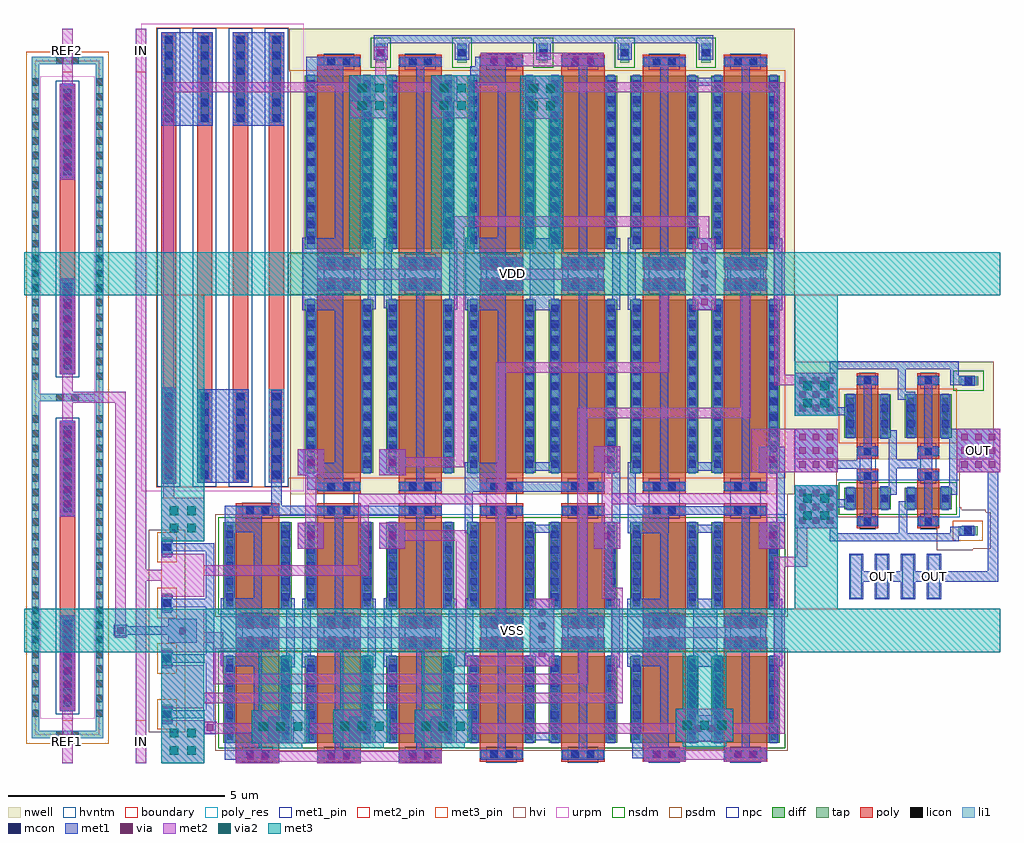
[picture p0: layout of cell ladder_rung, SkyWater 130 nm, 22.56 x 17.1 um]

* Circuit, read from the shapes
.subckt ladder_rung IN OUT REF1 REF2 VDD VSS
XM1 VSS n1 n1 VSS sky130_fd_pr__nfet_g5v0d10v5 w=2 l=1 m=2
XM2 VSS n1 n2 VSS sky130_fd_pr__nfet_g5v0d10v5 w=2 l=1 m=2
XM3 VSS n1 n3 VSS sky130_fd_pr__nfet_g5v0d10v5 w=2 l=1 m=2
XM4 n3 IN n4 VSS sky130_fd_pr__nfet_g5v0d10v5 w=2 l=1 m=2
XM5 comparator_2/buffer_1/IN comparator_2/N n3 VSS sky130_fd_pr__nfet_g5v0d10v5 w=2 l=1 m=2
XM6 VSS n5 n5 VSS sky130_fd_pr__nfet_g5v0d10v5 w=2 l=1 m=2
XM7 comparator_2/buffer_1/IN n5 VSS VSS sky130_fd_pr__nfet_g5v0d10v5 w=2 l=1 m=2
XM8 n6 comparator_2/buffer_1/IN VSS VSS sky130_fd_pr__nfet_g5v0d10v5 w=0.5 l=0.5
XM9 OUT n6 VSS VSS sky130_fd_pr__nfet_g5v0d10v5 w=0.5 l=0.5
XM10 VDD n2 n2 VDD sky130_fd_pr__pfet_g5v0d10v5 w=4 l=1 m=2
XM11 VDD n2 n7 VDD sky130_fd_pr__pfet_g5v0d10v5 w=4 l=1 m=2
XM12 VDD n4 n4 VDD sky130_fd_pr__pfet_g5v0d10v5 w=4 l=1 m=2
XM13 comparator_2/buffer_1/IN n4 VDD VDD sky130_fd_pr__pfet_g5v0d10v5 w=4 l=1 m=2
XM14 n7 IN n5 VDD sky130_fd_pr__pfet_g5v0d10v5 w=4 l=1 m=2
XM15 comparator_2/buffer_1/IN comparator_2/N n7 VDD sky130_fd_pr__pfet_g5v0d10v5 w=4 l=1 m=2
XM16 n6 comparator_2/buffer_1/IN VDD VDD sky130_fd_pr__pfet_g5v0d10v5 w=1 l=0.5
XM17 OUT n6 VDD VDD sky130_fd_pr__pfet_g5v0d10v5 w=1 l=0.5
XR18 comparator_2/N REF1 VSS sky130_fd_pr__res_xhigh_po w=0.35 l=2.38
XR19 REF2 comparator_2/N VSS sky130_fd_pr__res_xhigh_po w=0.35 l=2.38
XR20 n8 VDD VSS sky130_fd_pr__res_xhigh_po w=0.35 l=6.13
XR21 n8 n9 VSS sky130_fd_pr__res_xhigh_po w=0.35 l=6.13
XR22 n10 n9 VSS sky130_fd_pr__res_xhigh_po w=0.35 l=6.13
XR23 n10 n1 VSS sky130_fd_pr__res_xhigh_po w=0.35 l=6.13
.ends

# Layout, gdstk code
import gdstk
lib = gdstk.Library(unit=1e-6, precision=1e-09)
def R(c, l, rs):  # rectangles x0, y0, x1, y1
    for r in rs: c.add(gdstk.rectangle(r[:2], r[2:], *l))
def A(c, l, x, y, w, h, nx, ny, dx, dy):  # array of equal rectangles
    R(c, l, [(x+i*dx, y+j*dy, x+i*dx+w, y+j*dy+h) for i in range(nx) for j in range(ny)])
nwell = (64, 20)
diff = (65, 20)
tap = (65, 44)
poly_res = (66, 13)
poly = (66, 20)
licon = (66, 44)
li1 = (67, 20)
mcon = (67, 44)
met1_pin = (68, 16)
met1 = (68, 20)
via = (68, 44)
met2_pin = (69, 16)
met2 = (69, 20)
via2 = (69, 44)
met3_pin = (70, 16)
met3 = (70, 20)
hvi = (75, 20)
urpm = (79, 20)
nsdm = (93, 44)
psdm = (94, 20)
npc = (95, 20)
hvntm = (125, 20)
boundary = (235, 4)

sky130_fd_pr__res_xhigh_ = lib.new_cell('sky130_fd_pr__res_xhigh_po_0p35_29QZGQ')
R(sky130_fd_pr__res_xhigh_, tap, [(-0.825,-3.98,0.825,-3.81), (-0.825,-3.81,-0.655,3.81), (0.655,-3.81,0.825,3.81), (-0.825,3.81,0.825,3.98)])
R(sky130_fd_pr__res_xhigh_, poly_res, [(-0.175,-1.25,0.175,1.25)])
R(sky130_fd_pr__res_xhigh_, poly, [(-0.175,-3.33,0.175,3.33)])
A(sky130_fd_pr__res_xhigh_, licon, -0.825, -3.485, 0.17, 0.17, 1, 21, 0, 0.34)
A(sky130_fd_pr__res_xhigh_, licon, 0.655, -3.485, 0.17, 0.17, 1, 21, 0, 0.34)
R(sky130_fd_pr__res_xhigh_, licon, [(-0.255,-3.98,-0.085,-3.81), (0.085,-3.98,0.255,-3.81), (-0.095,-3.25,0.095,-1.25), (-0.095,1.25,0.095,3.25), (-0.255,3.81,-0.085,3.98), (0.085,3.81,0.255,3.98)])
R(sky130_fd_pr__res_xhigh_, li1, [(-0.825,-3.98,0.825,-3.81), (-0.825,-3.81,-0.655,3.81), (0.655,-3.81,0.825,3.81), (-0.175,-3.33,0.175,-1.17), (-0.175,1.17,0.175,3.33), (-0.825,3.81,0.825,3.98)])
A(sky130_fd_pr__res_xhigh_, mcon, -0.085, -3.235, 0.17, 0.17, 1, 6, 0, 0.36)
A(sky130_fd_pr__res_xhigh_, mcon, -0.085, 1.26, 0.17, 0.17, 1, 6, 0, 0.36)
R(sky130_fd_pr__res_xhigh_, met1, [(-0.125,-3.3,0.125,-1.195), (-0.125,1.195,0.125,3.3)])
R(sky130_fd_pr__res_xhigh_, urpm, [(-0.635,-3.53,0.635,3.53)])
R(sky130_fd_pr__res_xhigh_, psdm, [(-0.95,-4.105,0.95,4.105)])
R(sky130_fd_pr__res_xhigh_, npc, [(-0.27,-3.425,0.27,3.425)])
R(sky130_fd_pr__res_xhigh_, boundary, [(-0.74,-3.895,0.74,3.895)])

sky130_fd_pr__nfet_g5v0d = lib.new_cell('sky130_fd_pr__nfet_g5v0d10v5_H94GUP')
R(sky130_fd_pr__nfet_g5v0d, diff, [(-0.79,-2.545,0.79,-0.545), (-0.79,0.545,0.79,2.545)])
R(sky130_fd_pr__nfet_g5v0d, poly, [(-0.5,-2.985,0.5,-0.105), (-0.5,0.105,0.5,2.985)])
A(sky130_fd_pr__nfet_g5v0d, licon, -0.73, -2.48, 0.17, 0.17, 1, 6, 0, 0.34)
A(sky130_fd_pr__nfet_g5v0d, licon, 0.56, -2.48, 0.17, 0.17, 1, 6, 0, 0.34)
A(sky130_fd_pr__nfet_g5v0d, licon, -0.73, 0.61, 0.17, 0.17, 1, 6, 0, 0.34)
A(sky130_fd_pr__nfet_g5v0d, licon, 0.56, 0.61, 0.17, 0.17, 1, 6, 0, 0.34)
R(sky130_fd_pr__nfet_g5v0d, licon, [(-0.255,-2.905,-0.085,-2.735), (0.085,-2.905,0.255,-2.735), (-0.255,-0.355,-0.085,-0.185), (0.085,-0.355,0.255,-0.185), (-0.255,0.185,-0.085,0.355), (0.085,0.185,0.255,0.355), (-0.255,2.735,-0.085,2.905), (0.085,2.735,0.255,2.905)])
R(sky130_fd_pr__nfet_g5v0d, li1, [(-0.5,-2.905,0.5,-2.735), (-0.73,-2.565,-0.56,-0.525), (0.56,-2.565,0.73,-0.525), (-0.5,-0.355,0.5,-0.185), (-0.5,0.185,0.5,0.355), (-0.73,0.525,-0.56,2.565), (0.56,0.525,0.73,2.565), (-0.5,2.735,0.5,2.905)])
A(sky130_fd_pr__nfet_g5v0d, mcon, -0.73, -2.35, 0.17, 0.17, 1, 5, 0, 0.36)
A(sky130_fd_pr__nfet_g5v0d, mcon, 0.56, -2.35, 0.17, 0.17, 1, 5, 0, 0.36)
A(sky130_fd_pr__nfet_g5v0d, mcon, -0.73, 0.74, 0.17, 0.17, 1, 5, 0, 0.36)
A(sky130_fd_pr__nfet_g5v0d, mcon, 0.56, 0.74, 0.17, 0.17, 1, 5, 0, 0.36)
R(sky130_fd_pr__nfet_g5v0d, mcon, [(-0.265,-2.905,-0.095,-2.735), (0.095,-2.905,0.265,-2.735), (-0.265,-0.355,-0.095,-0.185), (0.095,-0.355,0.265,-0.185), (-0.265,0.185,-0.095,0.355), (0.095,0.185,0.265,0.355), (-0.265,2.735,-0.095,2.905), (0.095,2.735,0.265,2.905)])
R(sky130_fd_pr__nfet_g5v0d, met1, [(-0.48,-2.935,0.48,-2.705), (-0.76,-2.545,-0.53,-0.545), (0.53,-2.545,0.76,-0.545), (-0.48,-0.385,0.48,-0.155), (-0.48,0.155,0.48,0.385), (-0.76,0.545,-0.53,2.545), (0.53,0.545,0.76,2.545), (-0.48,2.705,0.48,2.935)])
R(sky130_fd_pr__nfet_g5v0d, hvi, [(-0.975,-2.73,0.975,-0.36), (-0.975,0.36,0.975,2.73)])
R(sky130_fd_pr__nfet_g5v0d, nsdm, [(-0.915,-2.67,0.915,-0.42), (-0.915,0.42,0.915,2.67)])
R(sky130_fd_pr__nfet_g5v0d, npc, [(-0.355,-3.005,0.355,-2.635), (-0.355,-0.455,0.355,0.455), (-0.355,2.635,0.355,3.005)])
R(sky130_fd_pr__nfet_g5v0d, hvntm, [(-0.975,-2.73,0.975,-0.36), (-0.975,0.36,0.975,2.73)])

c_sky130_fd_pr__res_xhigh_ = lib.new_cell('sky130_fd_pr__res_xhigh_po_0p35_MDZYBC')
A(c_sky130_fd_pr__res_xhigh_, poly_res, -1.42, -3.125, 0.35, 6.25, 4, 1, 0.83, 0)
A(c_sky130_fd_pr__res_xhigh_, poly, -1.42, -5.205, 0.35, 10.41, 4, 1, 0.83, 0)
A(c_sky130_fd_pr__res_xhigh_, licon, -1.34, -5.125, 0.19, 2, 4, 2, 0.83, 8.25)
A(c_sky130_fd_pr__res_xhigh_, li1, -1.42, -5.205, 0.35, 2.16, 4, 2, 0.83, 8.25)
A(c_sky130_fd_pr__res_xhigh_, mcon, -1.33, -5.11, 0.17, 0.17, 4, 6, 0.83, 0.36)
A(c_sky130_fd_pr__res_xhigh_, mcon, -1.33, 3.135, 0.17, 0.17, 4, 6, 0.83, 0.36)
A(c_sky130_fd_pr__res_xhigh_, met1, -1.37, -5.175, 0.25, 2.105, 4, 2, 0.83, 8.245)
R(c_sky130_fd_pr__res_xhigh_, urpm, [(-1.88,-5.405,1.88,5.405)])
R(c_sky130_fd_pr__res_xhigh_, psdm, [(-1.53,-5.315,1.53,5.315)])
A(c_sky130_fd_pr__res_xhigh_, npc, -1.515, -5.3, 0.54, 10.6, 4, 1, 0.83, 0)

sky130_fd_pr__pfet_g5v0d = lib.new_cell('sky130_fd_pr__pfet_g5v0d10v5_EFU7LQ')
R(sky130_fd_pr__pfet_g5v0d, nwell, [(-0.97,-5.09,0.97,-0.09), (-0.97,0.09,0.97,5.09)])
R(sky130_fd_pr__pfet_g5v0d, diff, [(-0.79,-4.59,0.79,-0.59), (-0.79,0.59,0.79,4.59)])
R(sky130_fd_pr__pfet_g5v0d, poly, [(-0.5,-5.075,0.5,-0.105), (-0.5,0.105,0.5,5.075)])
A(sky130_fd_pr__pfet_g5v0d, licon, -0.73, -4.375, 0.17, 0.17, 1, 11, 0, 0.34)
A(sky130_fd_pr__pfet_g5v0d, licon, 0.56, -4.375, 0.17, 0.17, 1, 11, 0, 0.34)
A(sky130_fd_pr__pfet_g5v0d, licon, -0.73, 0.805, 0.17, 0.17, 1, 11, 0, 0.34)
A(sky130_fd_pr__pfet_g5v0d, licon, 0.56, 0.805, 0.17, 0.17, 1, 11, 0, 0.34)
R(sky130_fd_pr__pfet_g5v0d, licon, [(-0.255,-4.995,-0.085,-4.825), (0.085,-4.995,0.255,-4.825), (-0.255,-0.355,-0.085,-0.185), (0.085,-0.355,0.255,-0.185), (-0.255,0.185,-0.085,0.355), (0.085,0.185,0.255,0.355), (-0.255,4.825,-0.085,4.995), (0.085,4.825,0.255,4.995)])
R(sky130_fd_pr__pfet_g5v0d, li1, [(-0.5,-4.995,0.5,-4.825), (-0.73,-4.61,-0.56,-0.57), (0.56,-4.61,0.73,-0.57), (-0.5,-0.355,0.5,-0.185), (-0.5,0.185,0.5,0.355), (-0.73,0.57,-0.56,4.61), (0.56,0.57,0.73,4.61), (-0.5,4.825,0.5,4.995)])
A(sky130_fd_pr__pfet_g5v0d, mcon, -0.73, -4.475, 0.17, 0.17, 1, 11, 0, 0.36)
A(sky130_fd_pr__pfet_g5v0d, mcon, 0.56, -4.475, 0.17, 0.17, 1, 11, 0, 0.36)
A(sky130_fd_pr__pfet_g5v0d, mcon, -0.73, 0.705, 0.17, 0.17, 1, 11, 0, 0.36)
A(sky130_fd_pr__pfet_g5v0d, mcon, 0.56, 0.705, 0.17, 0.17, 1, 11, 0, 0.36)
R(sky130_fd_pr__pfet_g5v0d, mcon, [(-0.265,-4.995,-0.095,-4.825), (0.095,-4.995,0.265,-4.825), (-0.265,-0.355,-0.095,-0.185), (0.095,-0.355,0.265,-0.185), (-0.265,0.185,-0.095,0.355), (0.095,0.185,0.265,0.355), (-0.265,4.825,-0.095,4.995), (0.095,4.825,0.265,4.995)])
R(sky130_fd_pr__pfet_g5v0d, met1, [(-0.48,-5.025,0.48,-4.795), (-0.76,-4.59,-0.53,-0.59), (0.53,-4.59,0.76,-0.59), (-0.48,-0.385,0.48,-0.155), (-0.48,0.155,0.48,0.385), (-0.76,0.59,-0.53,4.59), (0.53,0.59,0.76,4.59), (-0.48,4.795,0.48,5.025)])
R(sky130_fd_pr__pfet_g5v0d, hvi, [(-0.97,-5.09,0.97,-4.775), (-0.975,-4.775,0.975,-0.405), (-0.97,-0.405,0.97,0.405), (-0.975,0.405,0.975,4.775), (-0.97,4.775,0.97,5.09)])
R(sky130_fd_pr__pfet_g5v0d, psdm, [(-0.915,-4.715,0.915,-0.465), (-0.915,0.465,0.915,4.715)])
R(sky130_fd_pr__pfet_g5v0d, npc, [(-0.355,-5.095,0.355,-4.725), (-0.355,-0.455,0.355,0.455), (-0.355,4.725,0.355,5.095)])

opamp = lib.new_cell('opamp')
R(opamp, nwell, [(19,-2.16,30.66,7.62), (18.98,7.62,30.66,8.6)])
R(opamp, diff, [(28.27,-3.03,28.33,-2.81)])
A(opamp, tap, 16.05, -6.18, 0.21, 0.45, 1, 3, 0, 1.285)
A(opamp, tap, 20.99, 7.82, 0.21, 0.45, 5, 1, 1.88, 0)
R(opamp, tap, [(16.05,-7.47,16.26,-7.02)])
A(opamp, licon, 16.07, -6.04, 0.17, 0.17, 1, 3, 0, 1.285)
A(opamp, licon, 21.01, 7.96, 0.17, 0.17, 5, 1, 1.88, 0)
R(opamp, licon, [(16.07,-7.33,16.24,-7.16)])
A(opamp, li1, 16.05, -6.14, 0.21, 0.37, 1, 3, 0, 1.285)
A(opamp, li1, 20.99, 7.86, 0.21, 0.37, 5, 1, 1.88, 0)
R(opamp, li1, [(16.05,-7.43,16.26,-7.06)])
A(opamp, mcon, 16.07, -6.04, 0.17, 0.17, 1, 3, 0, 1.285)
A(opamp, mcon, 21.01, 7.96, 0.17, 0.17, 5, 1, 1.88, 0)
R(opamp, mcon, [(16.07,-7.33,16.24,-7.16)])
A(opamp, met1, 18.49, -7.9, 0.6, 0.6, 3, 1, 1.88, 0)
A(opamp, met1, 16.02, -6.15, 0.27, 0.1, 1, 3, 0, 1.285)
A(opamp, met1, 16.02, -6.05, 1.225, 0.19, 1, 3, 0, 1.285)
A(opamp, met1, 16.02, -5.86, 0.27, 0.09, 1, 3, 0, 1.285)
A(opamp, met1, 22.56, -4.76, 0.295, 0.19, 3, 1, 3.76, 0)
A(opamp, met1, 20.93, 7.88, 0.33, 0.385, 5, 1, 1.88, 0)
R(opamp, met1, [(17.75,-8.38,18.75,-8.29), (19.63,-8.38,20.63,-8.06), (21.51,-8.38,22.51,-8.06), (27.2,-8.34,28.1,-8.265), (29.08,-8.34,29.98,-8.02), (17.49,-8.29,18.75,-8.06), (25.675,-8.27,25.865,-5.74), (23.795,-8.265,23.985,-5.74), (26.91,-8.265,28.1,-8.02), (17.49,-8.06,18.35,-7.66), (20.035,-8.06,20.225,-5.74), (21.915,-8.06,22.105,-5.74), (26.91,-8.02,27.75,-7.67), (29.435,-8.02,29.625,-5.74), (28.18,-7.87,29,-7.27), (24.44,-7.85,25.215,-7.66), (17.02,-7.71,17.28,-7.39), (26.91,-7.67,27.1,-7.66), (27.555,-7.67,27.745,-6.14), (18.155,-7.66,18.35,-6.13), (16.06,-7.47,16.25,-7.44), (16.02,-7.44,16.29,-7.34), (17.02,-7.39,17.245,-7.34), (16.02,-7.34,17.245,-7.15), (16.02,-7.15,16.29,-7.06), (17.055,-7.15,17.245,-6.05), (16.06,-6.18,16.25,-6.15), (18.805,-6.155,19.105,-5.965), (19.285,-6.155,19.585,-5.965), (20.685,-6.155,20.985,-5.965), (26.325,-6.155,26.615,-5.965), (28.215,-6.15,28.88,-6.145), (21.165,-6.145,21.455,-5.955), (22.565,-6.145,22.855,-5.955), (26.795,-6.145,27.095,-6.14), (28.215,-6.145,28.975,-5.965), (17.395,-6.14,17.7,-6.13), (23.045,-6.14,23.34,-5.95), (24.445,-6.14,25.1,-6.135), (26.795,-6.14,27.745,-5.74), (24.445,-6.135,25.215,-5.955), (30.085,-6.135,30.375,-5.945), (17.395,-6.13,18.35,-5.74), (18.915,-5.965,19.105,-4.755), (19.285,-5.965,19.475,-4.76), (20.795,-5.965,20.985,-4.76), (26.425,-5.965,26.615,-4.76), (28.315,-5.965,28.975,-5.955), (21.165,-5.955,21.355,-4.755), (22.665,-5.955,22.855,-4.76), (24.545,-5.955,25.215,-5.945), (28.315,-5.955,28.88,-4.76), (23.045,-5.95,23.235,-4.755), (24.545,-5.945,25.105,-4.76), (30.185,-5.945,30.375,-4.76), (17.055,-5.86,17.245,-4.765), (17.395,-5.74,18.75,-4.97), (19.63,-5.74,20.63,-4.97), (21.51,-5.74,22.51,-4.97), (23.41,-5.74,24.37,-4.97), (25.29,-5.74,26.25,-4.97), (26.795,-5.74,28.13,-4.96), (29.05,-5.74,30.01,-4.97), (17.395,-4.97,18.35,-4.565), (20.035,-4.97,20.225,-2.65), (21.915,-4.97,22.105,-2.65), (23.795,-4.97,23.985,-2.44), (25.675,-4.97,25.865,-2.445), (29.435,-4.97,29.625,-2.63), (26.795,-4.96,27.745,-4.57), (16.06,-4.895,16.25,-4.865), (19.285,-4.76,19.58,-4.57), (20.68,-4.76,20.985,-4.57), (24.44,-4.76,25.22,-4.57), (28.2,-4.76,28.98,-4.57), (18.8,-4.755,19.105,-4.565), (21.165,-4.755,21.46,-4.565), (23.045,-4.755,23.345,-4.565), (17.055,-4.575,17.245,-3.48), (27.555,-4.57,27.745,-3.06), (17.4,-4.565,18.35,-4.56), (18.155,-4.56,18.35,-3.04), (16.06,-3.615,16.25,-3.58), (19.18,-3.42,19.78,-2.82), (21.06,-3.42,21.66,-2.82), (26.02,-3.42,26.63,-2.82), (29.83,-3.42,30.43,-2.81), (26.81,-3.06,27.75,-3.055), (23.035,-3.055,23.335,-2.865), (26.805,-3.055,27.75,-2.63), (24.44,-3.05,25.225,-2.86), (28.2,-3.05,28.975,-2.86), (17.49,-3.04,18.35,-2.65), (23.035,-2.865,23.225,-2.1), (26.44,-2.82,26.63,-1.65), (30.235,-2.81,30.43,-1.66), (17.49,-2.65,22.51,-2.42), (26.805,-2.63,29.635,-2.44), (26.805,-2.44,27.75,-2.42), (18.56,-2.42,18.81,-1.8), (26.805,-2.42,26.995,-1.605), (23.035,-2.1,26.25,-1.87), (20.035,-2.075,20.225,-2.06), (21.915,-2.075,22.105,2.54), (29.435,-2.075,29.625,2.575), (27.555,-2.065,27.745,2.55), (19.4,-2.06,20.23,-1.72), (16.02,-1.92,16.37,0.3), (16.85,-1.89,18.04,0.27), (23.035,-1.87,23.99,-1.43), (25.675,-1.87,25.865,2.54), (18.655,-1.8,18.715,-0.78), (19.18,-1.72,20.23,-1.43), (21.06,-1.72,21.67,-1.12), (29.83,-1.66,30.43,-1.06), (26.02,-1.65,26.63,-1.05), (24.44,-1.61,25.205,-1.42), (28.2,-1.61,28.975,-1.42), (26.805,-1.605,27.1,-1.415), (19.18,-1.43,19.79,-1.12), (20.035,-1.43,20.225,2.1), (23.035,-1.43,23.34,-1.42), (23.795,-1.43,23.985,2.1), (24.55,2.09,25.1,2.095), (19.285,2.095,19.58,2.1), (24.425,2.095,25.1,2.105), (28.655,2.095,28.955,2.1), (30.085,2.095,30.375,2.285), (19.285,2.1,20.225,2.54), (23.05,2.1,23.985,2.105), (28.2,2.1,28.955,2.285), (22.575,2.105,22.865,2.295), (23.045,2.105,23.985,2.11), (24.425,2.105,25.225,2.285), (26.325,2.105,26.635,2.295), (26.805,2.105,27.105,2.295), (23.045,2.11,23.99,2.54), (20.695,2.115,20.985,2.305), (21.165,2.135,21.455,2.325), (24.545,2.285,25.225,2.295), (28.2,2.285,28.845,2.29), (30.185,2.285,30.375,3.57), (28.305,2.29,28.845,2.83), (22.675,2.295,22.865,3.57), (24.545,2.295,25.105,3.57), (26.445,2.295,26.635,3.57), (26.805,2.295,26.995,3.575), (20.795,2.305,20.985,3.585), (21.165,2.325,21.355,3.57), (19.285,2.54,20.63,3.32), (21.51,2.54,22.51,3.32), (23.045,2.54,24.37,3.32), (25.29,2.54,26.25,3.32), (27.18,2.55,28.12,3.31), (29.11,2.575,29.95,3.285), (28.305,2.83,28.855,3.02), (28.305,3.02,28.845,3.565), (29.435,3.285,29.625,7.915), (27.555,3.31,27.745,7.935), (19.285,3.32,20.225,3.76), (21.915,3.32,22.105,7.925), (23.045,3.32,23.985,3.765), (25.675,3.32,25.865,7.72), (28.185,3.565,28.845,3.57), (21.165,3.57,21.46,3.76), (22.56,3.57,22.865,3.76), (24.44,3.57,25.105,3.575), (26.32,3.57,26.635,3.76), (28.185,3.57,28.98,3.755), (30.08,3.57,30.375,3.76), (24.44,3.575,25.22,3.76), (26.805,3.575,27.1,3.765), (20.68,3.585,20.985,3.775), (28.655,3.755,28.98,3.76), (19.285,3.76,19.575,3.765), (20.035,3.76,20.225,7.29), (23.05,3.765,23.985,3.77), (23.795,3.77,23.985,7.29), (16.02,6.36,17.21,8.52), (17.68,6.36,18.87,8.52), (20.37,6.93,20.97,7.53), (22.26,6.93,22.86,7.53), (24.43,6.98,25.24,7.52), (28.2,7.28,28.975,7.47), (19.37,7.29,20.23,7.95), (23.16,7.29,23.985,7.72), (23.16,7.72,24.37,7.74), (25.29,7.72,26.25,8.05), (23.28,7.74,24.37,7.95), (23.41,7.95,24.37,8.05), (20.93,8.265,28.78,8.455)])
A(opamp, via, 18.715, -7.675, 0.15, 0.15, 3, 1, 1.88, 0)
A(opamp, via, 24.75, -5.915, 0.15, 0.15, 1, 4, 0, 0.32)
A(opamp, via, 16.12, -1.685, 0.15, 0.15, 1, 6, 0, 0.32)
A(opamp, via, 28.5, 2.215, 0.15, 0.15, 1, 5, 0, 0.32)
R(opamp, via, [(18.015,-8.295,18.165,-8.145), (18.335,-8.295,18.485,-8.145), (19.895,-8.295,20.045,-8.145), (20.215,-8.295,20.365,-8.145), (21.775,-8.295,21.925,-8.145), (22.095,-8.295,22.245,-8.145), (27.415,-8.255,27.565,-8.105), (27.735,-8.255,27.885,-8.105), (29.295,-8.255,29.445,-8.105), (29.615,-8.255,29.765,-8.105), (28.355,-7.645,28.505,-7.495), (28.675,-7.645,28.825,-7.495), (17.075,-7.625,17.225,-7.475), (18.015,-5.59,18.165,-5.44), (18.335,-5.59,18.485,-5.44), (19.895,-5.59,20.045,-5.44), (20.215,-5.59,20.365,-5.44), (21.775,-5.59,21.925,-5.44), (22.095,-5.59,22.245,-5.44), (23.655,-5.59,23.805,-5.44), (23.975,-5.59,24.125,-5.44), (25.535,-5.59,25.685,-5.44), (25.855,-5.59,26.005,-5.44), (27.415,-5.59,27.565,-5.44), (27.735,-5.59,27.885,-5.44), (29.295,-5.59,29.445,-5.44), (29.615,-5.59,29.765,-5.44), (18.015,-5.27,18.165,-5.12), (18.335,-5.27,18.485,-5.12), (19.895,-5.27,20.045,-5.12), (20.215,-5.27,20.365,-5.12), (21.775,-5.27,21.925,-5.12), (22.095,-5.27,22.245,-5.12), (23.655,-5.27,23.805,-5.12), (23.975,-5.27,24.125,-5.12), (25.535,-5.27,25.685,-5.12), (25.855,-5.27,26.005,-5.12), (27.415,-5.27,27.565,-5.12), (27.735,-5.27,27.885,-5.12), (29.295,-5.27,29.445,-5.12), (29.615,-5.27,29.765,-5.12), (26.25,-3.2,26.4,-3.05), (19.405,-3.195,19.555,-3.045), (21.285,-3.195,21.435,-3.045), (30.06,-3.185,30.21,-3.035), (19.405,-1.495,19.555,-1.345), (21.285,-1.495,21.435,-1.345), (30.06,-1.435,30.21,-1.285), (26.25,-1.425,26.4,-1.275), (19.895,2.695,20.045,2.845), (20.215,2.695,20.365,2.845), (21.775,2.695,21.925,2.845), (22.095,2.695,22.245,2.845), (23.655,2.695,23.805,2.845), (23.975,2.695,24.125,2.845), (25.535,2.695,25.685,2.845), (25.855,2.695,26.005,2.845), (27.415,2.695,27.565,2.845), (27.735,2.695,27.885,2.845), (29.295,2.695,29.445,2.845), (29.615,2.695,29.765,2.845), (19.895,3.015,20.045,3.165), (20.215,3.015,20.365,3.165), (21.775,3.015,21.925,3.165), (22.095,3.015,22.245,3.165), (23.655,3.015,23.805,3.165), (23.975,3.015,24.125,3.165), (25.535,3.015,25.685,3.165), (25.855,3.015,26.005,3.165), (27.415,3.015,27.565,3.165), (27.735,3.015,27.885,3.165), (29.295,3.015,29.445,3.165), (29.615,3.015,29.765,3.165), (20.595,7.155,20.745,7.305), (22.485,7.155,22.635,7.305), (24.6,7.175,24.75,7.325), (24.92,7.175,25.07,7.325), (23.655,7.81,23.805,7.96), (23.975,7.81,24.125,7.96), (25.535,7.81,25.685,7.96), (25.855,7.81,26.005,7.96), (21.02,7.975,21.17,8.125)])
R(opamp, met2_pin, [(16.02,-7.11,17.02,-6.11), (16.02,-5.81,17.02,-4.81), (16.02,-4.53,17.02,-3.53), (29.66,-1.65,30.66,-0.65)])
A(opamp, met2, 17.75, -8.38, 1, 0.035, 3, 2, 1.88, 0.285)
A(opamp, met2, 17.75, -5.74, 1, 0.26, 3, 2, 1.88, 0.51)
R(opamp, met2, [(16.02,-8.38,17.02,-7.69), (17.75,-8.345,22.51,-8.095), (27.17,-8.34,28.15,-8.3), (29.03,-8.34,30.02,-8.3), (27.17,-8.3,30.02,-8.05), (27.17,-8.05,28.15,-8.02), (29.03,-8.05,30.02,-8.02), (18.12,-7.91,19.44,-7.69), (20,-7.9,21.32,-7.69), (21.88,-7.9,23.2,-7.69), (27.92,-7.88,29.24,-7.69), (16.02,-7.69,29.24,-7.45), (16.02,-7.45,17.31,-7.42), (18.12,-7.45,19.44,-7.15), (20,-7.45,21.32,-7.14), (21.88,-7.45,23.2,-7.14), (27.92,-7.45,29.24,-7.12), (16.02,-7.42,17.02,-7.38), (16.02,-7.11,17.02,-6.995), (16.02,-6.995,26.685,-6.745), (16.02,-6.745,17.02,-6.11), (26.435,-6.745,26.685,-4.575), (17.22,-6.55,25.89,-6.31), (17.22,-6.31,17.46,-5.59), (25.65,-6.31,25.89,-5.74), (22.83,-6.13,25.105,-5.89), (22.83,-5.89,23.07,-3.23), (24.545,-5.89,25.105,-4.57), (16.02,-5.81,17.02,-5.59), (23.41,-5.74,24.37,-4.97), (25.29,-5.74,26.25,-4.97), (27.16,-5.74,28.13,-5.48), (29.05,-5.74,30.01,-5.48), (16.02,-5.59,17.46,-5.35), (17.75,-5.48,22.51,-5.23), (27.16,-5.48,30.01,-5.23), (16.02,-5.35,17.02,-4.81), (27.16,-5.23,28.13,-4.96), (29.05,-5.23,30.01,-4.97), (23.76,-4.97,24,-2.39), (25.64,-4.97,25.88,-0.4), (26.2,-4.575,26.685,-4.325), (16.02,-4.53,17.02,-4.04), (26.2,-4.325,26.45,-3.42), (16.02,-4.04,20.82,-3.8), (16.02,-3.8,17.02,-3.53), (20.58,-3.8,20.82,-2.39), (19.18,-3.42,19.78,-2.82), (21.06,-3.42,21.66,-3.23), (26.02,-3.42,26.63,-2.82), (29.83,-3.42,30.43,-2.81), (16.02,-3.24,17.02,-2.24), (21.06,-3.23,23.07,-2.99), (21.06,-2.99,21.66,-2.82), (19.355,-2.82,19.605,-1.72), (26.2,-2.82,26.45,-2.385), (30.01,-2.81,30.26,-2.385), (20.58,-2.39,24,-2.15), (26.2,-2.385,30.26,-2.135), (16.07,-2.24,16.32,-1.92), (23.76,-2.15,24,0.65), (26.2,-2.135,26.45,-1.65), (30.01,-2.135,30.26,-1.65), (16.02,-1.92,16.37,0.3), (19.18,-1.72,19.79,-1.12), (21.06,-1.72,21.67,-1.54), (26.02,-1.65,26.63,-1.05), (29.66,-1.65,30.66,-0.65), (21.06,-1.54,23.03,-1.3), (21.06,-1.3,21.67,-1.12), (22.79,-1.3,23.03,4.03), (25.64,-0.4,29.65,-0.16), (29.41,-0.16,29.65,2.55), (16.07,0.3,16.31,7.13), (23.76,0.65,27.77,0.89), (27.53,0.89,27.77,2.55), (28.31,2.11,28.84,3.75), (19.63,2.54,20.63,2.805), (21.51,2.54,22.51,2.805), (23.41,2.54,24.37,2.805), (25.29,2.54,26.25,2.805), (27.18,2.55,28.12,3.31), (29.05,2.55,30.01,3.31), (19.63,2.805,22.51,3.055), (23.41,2.805,26.25,3.055), (19.63,3.055,20.63,3.32), (21.51,3.055,22.51,3.32), (23.41,3.055,24.37,3.32), (25.29,3.055,26.25,3.32), (28.455,3.75,28.695,4.03), (22.79,4.03,28.695,4.27), (24.32,6.52,25.32,7.13), (20.37,6.53,21.37,7.13), (22.26,6.53,23.26,7.13), (16.07,7.13,25.32,7.37), (20.37,7.37,21.37,7.53), (22.26,7.37,23.26,7.53), (24.32,7.37,25.32,7.52), (20.97,7.53,21.22,7.92), (23.41,7.73,26.25,8.05), (20.935,7.92,21.255,8.18)])
A(opamp, via2, 18.28, -7.63, 0.2, 0.2, 3, 1, 0.4, 0)
A(opamp, via2, 20.16, -7.62, 0.2, 0.2, 3, 1, 0.4, 0)
A(opamp, via2, 22.04, -7.62, 0.2, 0.2, 3, 1, 0.4, 0)
A(opamp, via2, 28.08, -7.6, 0.2, 0.2, 3, 1, 0.4, 0)
R(opamp, via2, [(16.22,-8.18,16.42,-7.98), (16.62,-8.18,16.82,-7.98), (16.22,-7.78,16.42,-7.58), (16.62,-7.78,16.82,-7.58), (16.22,-3.04,16.42,-2.84), (16.62,-3.04,16.82,-2.84), (16.22,-2.64,16.42,-2.44), (16.62,-2.64,16.82,-2.44), (24.52,6.72,24.72,6.92), (24.92,6.72,25.12,6.92), (20.57,6.73,20.77,6.93), (20.97,6.73,21.17,6.93), (22.46,6.73,22.66,6.93), (22.86,6.73,23.06,6.93), (24.52,7.12,24.72,7.32), (24.92,7.12,25.12,7.32), (20.57,7.13,20.77,7.33), (20.97,7.13,21.17,7.33), (22.46,7.13,22.66,7.33), (22.86,7.13,23.06,7.33)])
R(opamp, met3_pin, [(16.02,-8.38,17.02,-7.38), (18.12,-7.91,19.44,-7.15), (20,-7.9,21.32,-7.14), (21.88,-7.9,23.2,-7.14), (27.92,-7.88,29.24,-7.12), (17.4,-5.81,30.37,-4.81), (16.02,-3.24,17.02,-2.24), (19.28,2.44,30.37,3.44), (24.32,6.52,25.32,7.52), (20.37,6.53,21.37,7.53), (22.26,6.53,23.26,7.53)])
R(opamp, met3, [(16.02,-8.38,17.02,-7.38), (18.28,-8.03,19.28,-7.91), (20.16,-8.02,21.16,-7.9), (22.04,-8.02,23.04,-7.9), (28.08,-8,29.08,-7.88), (18.12,-7.91,19.44,-7.15), (20,-7.9,21.32,-7.14), (21.88,-7.9,23.2,-7.14), (27.92,-7.88,29.24,-7.12), (18.28,-7.15,19.28,-5.81), (20.16,-7.14,21.16,-5.81), (22.04,-7.14,23.04,-5.81), (28.08,-7.12,29.08,-5.81), (17.4,-5.81,30.37,-4.81), (16.02,-3.24,17.02,-2.24), (19.28,2.44,30.37,3.44), (20.37,3.44,21.37,7.53), (22.26,3.44,23.26,7.53), (24.32,3.44,25.32,7.52)])
R(opamp, hvi, [(15.735,-7.655,16.575,-2.975), (27.88,-3.215,28.72,-2.625), (19,-2.625,30.505,-2.16), (19,-2.16,30.66,7.62), (18.98,7.62,30.66,8.6)])
A(opamp, nsdm, 19.165, -8.025, 0.05, 2.25, 6, 2, 1.88, 3.09)
A(opamp, nsdm, 20.865, 7.695, 0.46, 0.7, 5, 1, 1.88, 0)
R(opamp, nsdm, [(28.145,-3.155,28.455,-2.685)])
A(opamp, psdm, 15.925, -6.305, 0.46, 0.7, 1, 3, 0, 1.285)
A(opamp, psdm, 21.045, -1.785, 0.05, 4.25, 5, 2, 1.88, 5.18)
R(opamp, psdm, [(15.925,-7.595,16.385,-6.895), (18.97,-1.785,19.215,2.465), (18.97,3.395,19.215,7.645)])
A(opamp, npc, 19.775, -2.35, 0.71, 0.185, 6, 1, 1.88, 0)
opamp.add(gdstk.Reference(sky130_fd_pr__nfet_g5v0d, (18.25,-5.355)))
opamp.add(gdstk.Reference(c_sky130_fd_pr__res_xhigh_, (17.44,3.315), x_reflection=True))
opamp.add(gdstk.Reference(sky130_fd_pr__nfet_g5v0d, (20.13,-5.355)))
opamp.add(gdstk.Reference(sky130_fd_pr__nfet_g5v0d, (22.01,-5.355)))
opamp.add(gdstk.Reference(sky130_fd_pr__pfet_g5v0d, (20.13,2.93)))
opamp.add(gdstk.Reference(sky130_fd_pr__pfet_g5v0d, (22.01,2.93)))
opamp.add(gdstk.Reference(sky130_fd_pr__nfet_g5v0d, (23.89,-5.355)))
opamp.add(gdstk.Reference(sky130_fd_pr__pfet_g5v0d, (23.89,2.93)))
opamp.add(gdstk.Reference(sky130_fd_pr__nfet_g5v0d, (25.77,-5.355)))
opamp.add(gdstk.Reference(sky130_fd_pr__nfet_g5v0d, (27.65,-5.355)))
opamp.add(gdstk.Reference(sky130_fd_pr__pfet_g5v0d, (27.65,2.93)))
opamp.add(gdstk.Reference(sky130_fd_pr__pfet_g5v0d, (25.77,2.93)))
opamp.add(gdstk.Reference(sky130_fd_pr__nfet_g5v0d, (29.53,-5.355)))
opamp.add(gdstk.Reference(sky130_fd_pr__pfet_g5v0d, (29.53,2.93)))
opamp.add(gdstk.Label('VDD', (20.87,7.03), layer=70, texttype=5))
opamp.add(gdstk.Label('VDD', (22.76,7.03), layer=70, texttype=5))
opamp.add(gdstk.Label('VDD', (24.825,2.94), layer=70, texttype=5))
opamp.add(gdstk.Label('VDD', (24.82,7.02), layer=70, texttype=5))
opamp.add(gdstk.Label('VDD', (16.52,-2.74), layer=70, texttype=5))
opamp.add(gdstk.Label('OUT', (16.52,-6.61), layer=69, texttype=5))
opamp.add(gdstk.Label('OUT', (30.16,-1.15), layer=69, texttype=5))
opamp.add(gdstk.Label('P', (16.52,-4.03), layer=69, texttype=5))
opamp.add(gdstk.Label('N', (16.52,-5.31), layer=69, texttype=5))
opamp.add(gdstk.Label('VSS', (16.52,-7.88), layer=70, texttype=5))
opamp.add(gdstk.Label('VSS', (23.885,-5.31), layer=70, texttype=5))
opamp.add(gdstk.Label('VSS', (28.58,-7.5), layer=70, texttype=5))
opamp.add(gdstk.Label('VSS', (22.54,-7.52), layer=70, texttype=5))
opamp.add(gdstk.Label('VSS', (20.66,-7.52), layer=70, texttype=5))
opamp.add(gdstk.Label('VSS', (18.78,-7.53), layer=70, texttype=5))

c_sky130_fd_pr__pfet_g5v0d = lib.new_cell('sky130_fd_pr__pfet_g5v0d10v5_PC3LZ5')
R(c_sky130_fd_pr__pfet_g5v0d, nwell, [(-0.72,-1,0.72,1)])
R(c_sky130_fd_pr__pfet_g5v0d, diff, [(-0.54,-0.5,0.54,0.5)])
R(c_sky130_fd_pr__pfet_g5v0d, poly, [(-0.25,-0.985,0.25,0.985)])
A(c_sky130_fd_pr__pfet_g5v0d, licon, -0.48, -0.425, 0.17, 0.17, 1, 3, 0, 0.34)
A(c_sky130_fd_pr__pfet_g5v0d, licon, 0.31, -0.425, 0.17, 0.17, 1, 3, 0, 0.34)
R(c_sky130_fd_pr__pfet_g5v0d, licon, [(-0.085,-0.905,0.085,-0.735), (-0.085,0.735,0.085,0.905)])
R(c_sky130_fd_pr__pfet_g5v0d, li1, [(-0.25,-0.905,0.25,-0.735), (-0.48,-0.52,-0.31,0.52), (0.31,-0.52,0.48,0.52), (-0.25,0.735,0.25,0.905)])
R(c_sky130_fd_pr__pfet_g5v0d, mcon, [(-0.085,-0.905,0.085,-0.735), (-0.48,-0.265,-0.31,-0.095), (0.31,-0.265,0.48,-0.095), (-0.48,0.095,-0.31,0.265), (0.31,0.095,0.48,0.265), (-0.085,0.735,0.085,0.905)])
R(c_sky130_fd_pr__pfet_g5v0d, met1, [(-0.23,-0.935,0.23,-0.705), (-0.51,-0.5,-0.28,0.5), (0.28,-0.5,0.51,0.5), (-0.23,0.705,0.23,0.935)])
R(c_sky130_fd_pr__pfet_g5v0d, hvi, [(-0.72,-1,0.72,-0.685), (-0.725,-0.685,0.725,0.685), (-0.72,0.685,0.72,1)])
R(c_sky130_fd_pr__pfet_g5v0d, psdm, [(-0.665,-0.625,0.665,0.625)])
R(c_sky130_fd_pr__pfet_g5v0d, npc, [(-0.185,-1.005,0.185,-0.635), (-0.185,0.635,0.185,1.005)])

c_sky130_fd_pr__nfet_g5v0d = lib.new_cell('sky130_fd_pr__nfet_g5v0d10v5_VNEAGC')
R(c_sky130_fd_pr__nfet_g5v0d, diff, [(-0.54,-0.25,0.54,0.25)])
R(c_sky130_fd_pr__nfet_g5v0d, poly, [(-0.25,-0.69,0.25,0.69)])
R(c_sky130_fd_pr__nfet_g5v0d, licon, [(-0.085,-0.61,0.085,-0.44), (-0.48,-0.085,-0.31,0.085), (0.31,-0.085,0.48,0.085), (-0.085,0.44,0.085,0.61)])
R(c_sky130_fd_pr__nfet_g5v0d, li1, [(-0.25,-0.61,0.25,-0.44), (-0.48,-0.27,-0.31,0.27), (0.31,-0.27,0.48,0.27), (-0.25,0.44,0.25,0.61)])
R(c_sky130_fd_pr__nfet_g5v0d, mcon, [(-0.085,-0.61,0.085,-0.44), (-0.48,-0.085,-0.31,0.085), (0.31,-0.085,0.48,0.085), (-0.085,0.44,0.085,0.61)])
R(c_sky130_fd_pr__nfet_g5v0d, met1, [(-0.23,-0.64,0.23,-0.41), (-0.51,-0.25,-0.28,0.25), (0.28,-0.25,0.51,0.25), (-0.23,0.41,0.23,0.64)])
R(c_sky130_fd_pr__nfet_g5v0d, hvi, [(-0.725,-0.435,0.725,0.435)])
R(c_sky130_fd_pr__nfet_g5v0d, nsdm, [(-0.665,-0.375,0.665,0.375)])
R(c_sky130_fd_pr__nfet_g5v0d, npc, [(-0.185,-0.71,0.185,-0.34), (-0.185,0.34,0.185,0.71)])
R(c_sky130_fd_pr__nfet_g5v0d, hvntm, [(-0.725,-0.435,0.725,0.435)])

buffer = lib.new_cell('buffer')
R(buffer, nwell, [(3.45,-2.35,8.05,-0.1)])
R(buffer, tap, [(7.23,-4.105,7.68,-3.895), (7.25,-0.64,7.7,-0.43)])
R(buffer, licon, [(7.37,-4.085,7.54,-3.915), (7.39,-0.62,7.56,-0.45)])
R(buffer, li1, [(7.27,-4.105,7.64,-3.895), (7.29,-0.64,7.66,-0.43)])
R(buffer, mcon, [(7.375,-4.085,7.545,-3.915), (7.385,-0.625,7.555,-0.455)])
A(buffer, met1_pin, 3.45, -3.95, 1, 1, 1, 3, 0, 1.3)
R(buffer, met1_pin, [(7.2,-2.65,8.2,-1.65)])
R(buffer, met1, [(4.265,-4.245,7.25,-4.115), (4.265,-4.115,7.605,-4.055), (4.265,-4.055,4.455,-3.95), (5.865,-4.055,6.055,-3.51), (7.05,-4.055,7.605,-3.905), (3.45,-3.95,4.455,-3.795), (7.315,-3.905,7.605,-3.885), (5.045,-3.87,5.235,-2.72), (6.445,-3.87,6.635,-2.78), (3.45,-3.795,4.45,-3.46), (5.865,-3.51,6.26,-3.32), (3.45,-3.46,4.84,-3.27), (3.45,-3.27,4.45,-2.95), (5.435,-3.165,5.815,-2.975), (6.835,-3.165,7.215,-2.975), (5.625,-2.975,5.815,-2.555), (7.025,-2.975,7.215,-2.65), (6.285,-2.78,6.635,-2.555), (4.89,-2.72,5.235,-2.565), (3.45,-2.65,4.45,-2.565), (7.025,-2.65,8.2,-1.875), (3.45,-2.565,5.235,-2.375), (5.625,-2.555,6.635,-2.365), (3.45,-2.375,4.45,-1.65), (4.89,-2.375,5.235,-2.25), (5.625,-2.365,5.815,-1.875), (6.285,-2.365,6.635,-2.205), (5.045,-2.25,5.235,-0.445), (6.445,-2.205,6.635,-0.445), (5.435,-1.875,5.815,-1.685), (6.84,-1.875,8.2,-1.65), (6.84,-1.65,7.03,-1.255), (3.45,-1.35,4.45,-1.335), (3.45,-1.335,4.84,-1.145), (3.45,-1.145,4.45,-0.35), (5.835,-0.975,6.24,-0.785), (5.835,-0.785,6.025,-0.275), (7.325,-0.655,7.615,-0.635), (7.055,-0.635,7.615,-0.425), (7.055,-0.425,7.245,-0.275), (4.26,-0.35,4.45,-0.275), (4.26,-0.275,7.245,-0.085)])
R(buffer, hvi, [(6.735,-4.45,7.575,-4.42), (6.735,-4.42,7.985,-3.75), (6.7,-3.75,7.985,-3.695), (7.035,-3.695,7.985,-3.58), (7.265,-3.58,7.875,-3.515), (7.265,-3.515,7.3,-3.46), (4.415,-2.825,7.265,-2.35), (3.45,-2.35,8.05,-0.1)])
R(buffer, nsdm, [(5.805,-3.635,5.875,-2.885), (7.125,-0.765,7.825,-0.305)])
R(buffer, psdm, [(7.105,-4.23,7.805,-3.77), (5.805,-1.975,5.875,-0.725)])
R(buffer, npc, [(4.955,-2.55,5.325,-2.355), (6.355,-2.55,6.725,-2.355)])
buffer.add(gdstk.Reference(c_sky130_fd_pr__pfet_g5v0d, (5.14,-1.35)))
buffer.add(gdstk.Reference(c_sky130_fd_pr__pfet_g5v0d, (6.54,-1.35)))
buffer.add(gdstk.Reference(c_sky130_fd_pr__nfet_g5v0d, (6.54,-3.26)))
buffer.add(gdstk.Reference(c_sky130_fd_pr__nfet_g5v0d, (5.14,-3.26)))
buffer.add(gdstk.Label('VDD', (3.95,-0.85), layer=68, texttype=5))
buffer.add(gdstk.Label('OUT', (7.7,-2.15), layer=68, texttype=5))
buffer.add(gdstk.Label('IN', (3.95,-2.15), layer=68, texttype=5))
buffer.add(gdstk.Label('VSS', (3.95,-3.45), layer=68, texttype=5))

comparator = lib.new_cell('comparator')
R(comparator, nwell, [(16.49,-0.94,17.29,0.73), (16.49,0.73,17.3,0.76), (16.49,0.76,17.49,1.06)])
A(comparator, met1, 16.53, -2.5, 0.92, 0.92, 1, 3, 0, 1.3)
R(comparator, met1, [(20.28,-1.2,21.2,-0.28)])
A(comparator, via, 16.595, -2.435, 0.15, 0.15, 3, 3, 0.32, 0.32)
A(comparator, via, 16.595, -1.135, 0.15, 0.15, 3, 3, 0.32, 0.32)
A(comparator, via, 20.345, -1.135, 0.15, 0.15, 3, 3, 0.32, 0.32)
A(comparator, via, 16.595, 0.165, 0.15, 0.15, 3, 3, 0.32, 0.32)
R(comparator, met2_pin, [(1.85,-7.97,2.85,-6.97), (3.95,-7.5,5.27,-6.74), (5.83,-7.49,7.15,-6.73), (7.71,-7.49,9.03,-6.73), (13.75,-7.47,15.07,-6.71), (1.85,-5.4,2.85,-4.4), (1.85,-4.12,2.85,-3.12), (1.85,-2.83,2.85,-1.83), (20.24,-1.24,21.24,-0.24), (10.15,6.93,11.15,7.93), (6.2,6.94,7.2,7.94), (8.09,6.94,9.09,7.94)])
R(comparator, met2, [(1.85,-7.97,2.85,-7.28), (3.95,-7.5,5.27,-7.28), (5.83,-7.49,7.15,-7.28), (7.71,-7.49,9.03,-7.28), (13.75,-7.47,15.07,-7.28), (1.85,-7.28,16.26,-7.04), (1.85,-7.04,2.85,-6.97), (3.95,-7.04,5.27,-6.74), (5.83,-7.04,7.15,-6.73), (7.71,-7.04,9.03,-6.73), (13.75,-7.04,15.07,-6.71), (16.02,-7.04,16.26,-3.43), (1.85,-5.4,2.85,-4.4), (1.85,-4.12,2.85,-3.12), (16.02,-3.43,16.78,-3.19), (16.54,-3.19,16.78,-2.54), (1.85,-2.83,2.85,-1.83), (16.49,-2.54,17.49,-1.54), (1.9,-1.83,2.14,7.54), (16.49,-1.24,17.49,-0.865), (20.24,-1.24,21.24,-0.24), (15.905,-0.865,17.49,-0.615), (16.49,-0.615,17.49,-0.24), (16.49,0.06,17.49,0.77), (16.02,0.77,17.49,1.01), (16.02,1.01,16.26,7.54), (16.49,1.01,17.49,1.06), (10.15,6.93,11.15,7.54), (6.2,6.94,7.2,7.54), (8.09,6.94,9.09,7.54), (1.9,7.54,16.26,7.78), (6.2,7.78,7.2,7.94), (8.09,7.78,9.09,7.94), (10.15,7.78,11.15,7.93)])
R(comparator, via2, [(16.69,-2.34,16.89,-2.14), (17.09,-2.34,17.29,-2.14), (16.69,-1.94,16.89,-1.74), (17.09,-1.94,17.29,-1.74), (16.69,0.26,16.89,0.46), (17.09,0.26,17.29,0.46), (16.69,0.66,16.89,0.86), (17.09,0.66,17.29,0.86)])
R(comparator, met3_pin, [(3.23,-5.4,17.49,-4.4), (16.49,-2.54,17.49,-1.54), (16.49,0.06,17.49,1.06), (5.11,2.85,17.49,3.85)])
R(comparator, met3, [(3.23,-5.4,17.49,-4.4), (16.49,-4.4,17.49,-1.54), (16.49,0.06,17.49,2.85), (5.11,2.85,17.49,3.85)])
comparator.add(gdstk.Reference(opamp, (-14.17,0.41)))
comparator.add(gdstk.Reference(buffer, (13.04,1.41)))
comparator.add(gdstk.Label('VDD', (11.3,3.35), layer=70, texttype=5))
comparator.add(gdstk.Label('VDD', (16.99,0.56), layer=70, texttype=5))
comparator.add(gdstk.Label('VDD', (6.7,7.44), layer=69, texttype=5))
comparator.add(gdstk.Label('VDD', (10.65,7.43), layer=69, texttype=5))
comparator.add(gdstk.Label('VDD', (8.59,7.44), layer=69, texttype=5))
comparator.add(gdstk.Label('VDD', (2.35,-2.33), layer=69, texttype=5))
comparator.add(gdstk.Label('OUT', (20.74,-0.74), layer=69, texttype=5))
comparator.add(gdstk.Label('P', (2.35,-3.62), layer=69, texttype=5))
comparator.add(gdstk.Label('N', (2.35,-4.9), layer=69, texttype=5))
comparator.add(gdstk.Label('VSS', (10.36,-4.9), layer=70, texttype=5))
comparator.add(gdstk.Label('VSS', (4.61,-7.12), layer=69, texttype=5))
comparator.add(gdstk.Label('VSS', (6.49,-7.11), layer=69, texttype=5))
comparator.add(gdstk.Label('VSS', (8.37,-7.11), layer=69, texttype=5))
comparator.add(gdstk.Label('VSS', (14.41,-7.09), layer=69, texttype=5))
comparator.add(gdstk.Label('VSS', (16.99,-2.04), layer=70, texttype=5))
comparator.add(gdstk.Label('VSS', (2.35,-7.47), layer=69, texttype=5))

ladder_rung = lib.new_cell('ladder_rung')
A(ladder_rung, met1_pin, 24.56, -5.47, 0.27, 1, 4, 1, 0.6, 0)
A(ladder_rung, met1, 24.53, -5.5, 0.33, 0.405, 4, 2, 0.6, 0.655)
R(ladder_rung, met1, [(6.29,-8.09,6.64,-5.87), (8.8,-6.5,9.45,-6.315), (7.53,-6.35,7.85,-6.315), (7.53,-6.315,9.45,-6.125), (7.53,-6.125,7.85,-6.09), (8.8,-6.125,9.45,-5.95), (24.53,-5.095,27.985,-4.845), (27.735,-4.845,27.985,-2.56), (6.29,-3.59,6.64,-1.37), (27.02,-2.56,28.02,-1.56), (6.29,-0.3,6.64,1.92), (6.29,4.2,6.64,6.42)])
A(ladder_rung, via, 6.39, -7.855, 0.15, 0.15, 1, 6, 0, 0.32)
A(ladder_rung, via, 6.39, -3.355, 0.15, 0.15, 1, 6, 0, 0.32)
A(ladder_rung, via, 27.125, -2.455, 0.15, 0.15, 3, 3, 0.32, 0.32)
A(ladder_rung, via, 6.39, -0.065, 0.15, 0.15, 1, 6, 0, 0.32)
A(ladder_rung, via, 6.39, 4.435, 0.15, 0.15, 1, 6, 0, 0.32)
R(ladder_rung, via, [(9.05,-6.3,9.2,-6.15), (7.615,-6.295,7.765,-6.145)])
R(ladder_rung, met2_pin, [(6.34,-9.29,6.59,-8.29), (8.04,-9.29,8.29,-8.29), (27.02,-2.56,28.02,-1.56), (6.34,6.69,6.59,7.69), (8.04,6.69,8.29,7.69)])
R(ladder_rung, met2, [(6.34,-9.29,6.59,-8.09), (8.04,-9.29,8.29,-5.065), (8.63,-9.29,9.63,-8.29), (6.29,-8.09,6.64,-5.87), (8.71,-6.65,9.25,-6.45), (8.71,-6.45,9.4,-6), (7.56,-6.38,7.82,-6.06), (7.565,-6.06,7.815,-0.955), (8.71,-6,9.25,-5.79), (8.04,-5.065,9.255,-4.815), (8.04,-4.815,8.29,7.69), (8.63,-4.15,9.63,-3.15), (6.29,-3.59,6.64,-1.37), (27.02,-2.56,28.02,-1.56), (6.34,-1.37,6.59,-0.955), (6.34,-0.955,7.815,-0.705), (6.34,-0.705,6.59,-0.3), (6.29,-0.3,6.64,1.92), (6.29,4.2,6.64,6.42), (6.34,6.42,6.59,7.69)])
R(ladder_rung, via2, [(8.83,-9.09,9.03,-8.89), (9.23,-9.09,9.43,-8.89), (8.83,-8.69,9.03,-8.49), (9.23,-8.69,9.43,-8.49), (8.83,-3.95,9.03,-3.75), (9.23,-3.95,9.43,-3.75), (8.83,-3.55,9.03,-3.35), (9.23,-3.55,9.43,-3.35)])
R(ladder_rung, met3_pin, [(5.46,-6.72,28.02,-5.72), (5.46,1.53,28.02,2.53)])
R(ladder_rung, met3, [(8.63,-9.29,9.63,-6.72), (5.46,-6.72,28.02,-5.72), (8.63,-4.15,9.63,1.53), (5.46,1.53,28.02,2.53)])
R(ladder_rung, urpm, [(5.83,-1.2,7.1,-0.47)])
ladder_rung.add(gdstk.Reference(sky130_fd_pr__res_xhigh_, (6.465,-4.73)))
ladder_rung.add(gdstk.Reference(sky130_fd_pr__res_xhigh_, (6.465,3.06)))
ladder_rung.add(gdstk.Reference(comparator, (6.78,-1.32)))
ladder_rung.add(gdstk.Label('REF2', (6.465,7.19), layer=69, texttype=5))
ladder_rung.add(gdstk.Label('OUT', (26.495,-4.97), layer=68, texttype=5))
ladder_rung.add(gdstk.Label('OUT', (25.895,-4.97), layer=68, texttype=5))
ladder_rung.add(gdstk.Label('OUT', (25.295,-4.97), layer=68, texttype=5))
ladder_rung.add(gdstk.Label('OUT', (24.695,-4.97), layer=68, texttype=5))
ladder_rung.add(gdstk.Label('VDD', (16.74,2.03), layer=70, texttype=5))
ladder_rung.add(gdstk.Label('IN', (8.165,7.19), layer=69, texttype=5))
ladder_rung.add(gdstk.Label('IN', (8.165,-8.79), layer=69, texttype=5))
ladder_rung.add(gdstk.Label('OUT', (27.52,-2.06), layer=69, texttype=5))
ladder_rung.add(gdstk.Label('VSS', (16.74,-6.22), layer=70, texttype=5))
ladder_rung.add(gdstk.Label('REF1', (6.465,-8.79), layer=69, texttype=5))

lib.write_gds('ladder_rung.gds')
